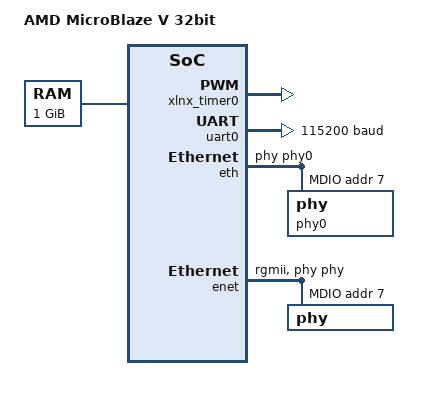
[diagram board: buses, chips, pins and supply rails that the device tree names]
// SPDX-License-Identifier: GPL-2.0
/*
 * dts file for AMD MicroBlaze V
 *
 * (C) Copyright 2023 - 2025, Advanced Micro Devices, Inc.
 *
 * Michal Simek <michal.simek@amd.com>
 */

/dts-v1/;

/ {
	#address-cells = <1>;
	#size-cells = <1>;
	model = "AMD MicroBlaze V 32bit";
	compatible = "qemu,mbv", "amd,mbv";

	cpus: cpus {
		#address-cells = <1>;
		#size-cells = <0>;
		timebase-frequency = <100000000>;
		cpu_0: cpu@0 {
			compatible = "amd,mbv32", "riscv";
			device_type = "cpu";
			reg = <0>;
			riscv,isa = "rv32imafdc";
			mmu-type = "riscv,sv39";
			i-cache-size = <32768>;
			d-cache-size = <32768>;
			clock-frequency = <100000000>;
			cpu0_intc: interrupt-controller {
				compatible = "riscv,cpu-intc";
				interrupt-controller;
				#interrupt-cells = <1>;
			};
		};
	};

	aliases {
		serial0 = &uart0;
	};

	chosen {
		bootargs = "earlycon";
		stdout-path = "serial0:115200n8";
	};

	bram0: sram@0 {
		compatible = "mmio-sram";
		reg = <0x0 0x20000>;
		#address-cells = <1>;
		#size-cells = <1>;
		ranges = <0 0 0x20000>;
	};

	memory@80000000 {
		device_type = "memory";
		reg = <0x80000000 0x40000000>;
	};

	clk100: clock {
		compatible = "fixed-clock";
		#clock-cells = <0>;
		clock-frequency = <100000000>;
	};

	axi: axi {
		#address-cells = <1>;
		#size-cells = <1>;
		compatible = "simple-bus";
		ranges;
		bootph-all;

		axi_intc: interrupt-controller@41200000 {
			compatible = "xlnx,xps-intc-1.00.a";
			reg = <0x41200000 0x1000>;
			interrupt-controller;
			interrupt-parent = <&cpu0_intc>;
			#interrupt-cells = <2>;
			xlnx,num-intr-inputs = <2>;
			xlnx,kind-of-intr = <0>;
		};

		xlnx_timer0: timer@41c00000 {
			compatible = "xlnx,xps-timer-1.00.a";
			reg = <0x41c00000 0x1000>;
			interrupt-parent = <&axi_intc>;
			interrupts = <0 2>;
			bootph-all;
			xlnx,one-timer-only = <0>;
			clock-names = "s_axi_aclk";
			clocks = <&clk100>;
		};

		uart0: serial@40600000 {
			compatible = "xlnx,xps-uartlite-1.00.a";
			reg = <0x40600000 0x1000>;
			interrupt-parent = <&axi_intc>;
			interrupts = <1 2>;
			bootph-all;
			clocks = <&clk100>;
			current-speed = <115200>;
			xlnx,data-bits = <8>;
			xlnx,use-parity = <0>;
		};

		eth: ethernet@40e00000 {
			compatible = "xlnx,xps-ethernetlite-1.00.a";
			reg = <0x40e00000 0x10000>;
			interrupt-parent = <&axi_intc>;
			interrupts = <5 0>;
			clocks = <&clk100>;
			xlnx,rx-ping-pong = <0>;
			xlnx,tx-ping-pong = <0>;
			phy-handle = <&phy0>;

			mdio {
				#address-cells = <1>;
				#size-cells = <0>;
				phy0: phy@7 {
					device_type = "ethernet-phy";
					reg = <7>;
				} ;
			} ;
		};

		enet: ethernet@40c00000 {
			compatible = "xlnx,axi-ethernet-1.00.a";
			reg = <0x40c00000 0x40000>;
			interrupt-parent = <&axi_intc>;
			interrupts = <7 2>;
			clocks = <&clk100>, <&clk100>;
			phy-mode = "rgmii";
			xlnx,rxcsum = <0>;
			xlnx,rxmem = <0x1000>;
			xlnx,txcsum = <0>;
			phy-handle = <&phy>;
			axistream-connected = <&axi_dma>;

			mdio {
				#address-cells = <1>;
				#size-cells = <0>;
				phy: phy@7 {
					device_type = "ethernet-phy";
					reg = <7>;
				};
			};
		};

		axi_dma: dma@41e00000 {
			#dma-cells = <1>;
			axistream-connected = <&enet>;
			reg = <0x41e00000 0x10000>;
			clock-frequency = <100000000>;
			clock-names = "s_axi_lite_aclk";
			clocks = <&clk100>;
			interrupt-names = "mm2s_introut", "s2mm_introut";
			interrupt-parent = <&axi_intc>;
			interrupts = <8 2 9 2>;
		};
	};
};
